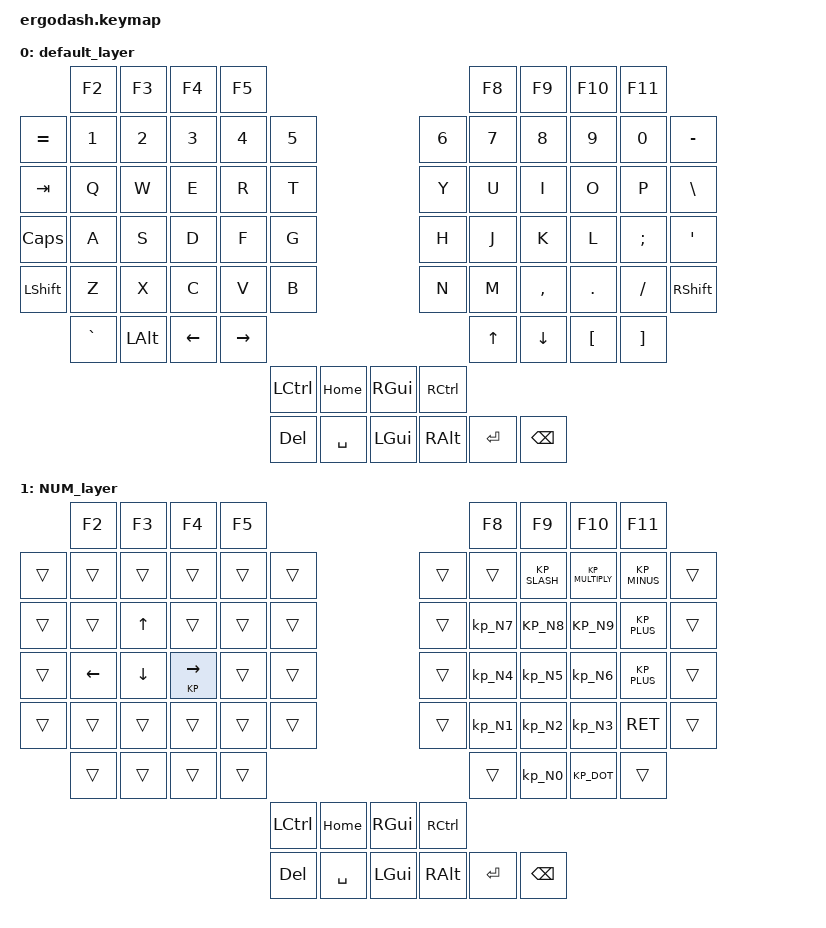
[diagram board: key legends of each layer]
#include <behaviors.dtsi>
#include <dt-bindings/zmk/keys.h>
#include <dt-bindings/zmk/bt.h>
#include <dt-bindings/zmk/outputs.h>

#define DEFAULT 0
#define NUM     1




/ {
    keymap {
        compatible = "zmk,keymap";

        default_layer {
            bindings = <
              &kp F2    &kp F3   &kp F4    &kp F5                                                                      &kp F8    &kp F9    &kp F10   &kp F11          
    &kp EQUAL &kp N1    &kp N2   &kp N3    &kp N4    &kp N5                                                  &kp N6    &kp N7    &kp N8    &kp N9    &kp N0   &kp MINUS
    &kp TAB   &kp Q     &kp W    &kp E     &kp R     &kp T                                                   &kp Y     &kp U     &kp I     &kp O     &kp P    &kp BSLH
    &kp CAPS  &kp A     &kp S    &kp D     &kp F     &kp G                                                   &kp H     &kp J     &kp K     &kp L     &kp SEMI &kp SQT
    &kp LSHFT &kp Z     &kp X    &kp C     &kp V     &kp B                                                   &kp N     &kp M     &kp COMMA &kp DOT   &kp FSLH &kp RSHFT
              &kp GRAVE &kp LALT &kp LEFT  &kp RIGHT                                                                   &kp UP    &kp DOWN  &kp LBKT  &kp RBKT
                                                              &kp LCTRL &kp HOME        &kp RGUI   &kp RCTRL
                                                     &kp DEL  &kp SPACE &kp LGUI        &kp RALT   &kp RET  &kp BSPC
                                           
            >;
        };

        NUM_layer {
            bindings = <
            
             &kp F2     &kp F3     &kp F4     &kp F5                                                                   &kp F8    &kp F9    &kp F10   &kp F11   
    &trans   &trans     &trans     &trans     &trans     &trans                                             &trans     &trans    &KP_SLASH &KP_MULTIPLY &KP_MINUS  &trans  
    &trans   &trans     &kp UP     &trans     &trans     &trans                                             &trans     &kp_N7    &KP_N8    &KP_N9       &KP_PLUS   &trans  
    &trans   &kp LEFT   &kp DOWN   &KP RIGHT  &trans     &trans                                             &trans     &kp_N4    &kp_N5    &kp_N6       &KP_PLUS   &trans  
    &trans   &trans     &trans     &trans     &trans     &trans                                             &trans     &kp_N1    &kp_N2    &kp_N3       &RET       &trans  
             &trans     &trans     &trans     &trans                                                                   &trans    &kp_N0    &KP_DOT      &trans 
                                                              &kp LCTRL &kp HOME        &kp RGUI   &kp RCTRL
                                                     &kp DEL  &kp SPACE &kp LGUI        &kp RALT   &kp RET  &kp BSPC
            >;
        };
    };
};
